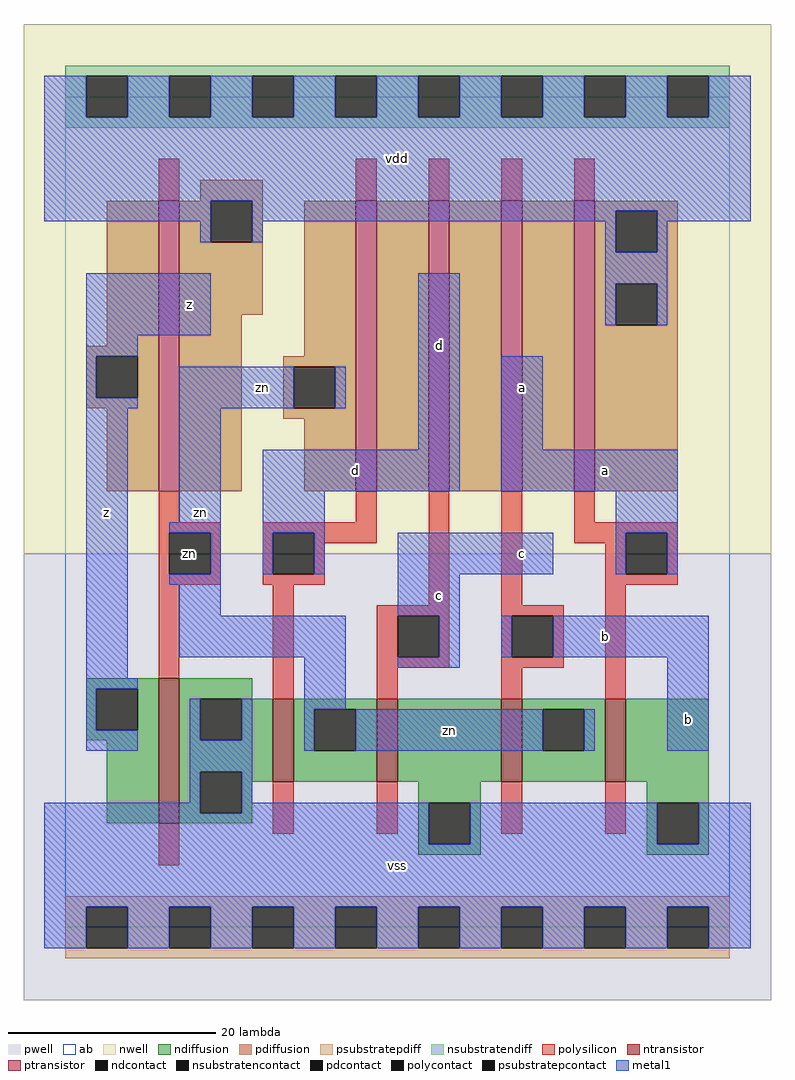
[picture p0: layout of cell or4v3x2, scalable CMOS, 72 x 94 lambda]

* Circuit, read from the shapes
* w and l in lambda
.subckt or4v3x2 a b c d vdd vss z zn
M1 vss zn z vss nfet w=14 l=2
M2 zn d vss vss nfet w=8 l=2
M3 vss c zn vss nfet w=8 l=2
M4 zn b vss vss nfet w=8 l=2
M5 vss a zn vss nfet w=8 l=2
M6 vdd zn z vdd pfet w=28 l=2
M7 n1 d zn vdd pfet w=28 l=2
M8 n2 c n1 vdd pfet w=28 l=2
M9 n3 b n2 vdd pfet w=28 l=2
M10 vdd a n3 vdd pfet w=28 l=2
.ends

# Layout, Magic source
magic
tech scmos
<< ab >>
rect 0 0 64 80
<< pwell >>
rect -4 -7 68 36
<< nwell >>
rect -4 36 68 87
<< polysilicon >>
rect 9 70 11 74
rect 28 70 30 74
rect 35 70 37 74
rect 42 70 44 74
rect 49 70 51 74
rect 9 39 11 42
rect 28 39 30 42
rect 9 38 15 39
rect 9 34 10 38
rect 14 34 15 38
rect 9 33 15 34
rect 19 38 30 39
rect 19 34 20 38
rect 24 37 30 38
rect 24 34 25 37
rect 19 33 25 34
rect 9 24 11 33
rect 20 22 22 33
rect 35 31 37 42
rect 30 30 37 31
rect 30 26 32 30
rect 36 26 37 30
rect 30 25 37 26
rect 42 31 44 42
rect 49 39 51 42
rect 49 38 59 39
rect 49 37 54 38
rect 52 34 54 37
rect 58 34 59 38
rect 52 33 59 34
rect 42 30 48 31
rect 42 26 43 30
rect 47 26 48 30
rect 42 25 48 26
rect 30 22 32 25
rect 42 22 44 25
rect 52 22 54 33
rect 9 6 11 10
rect 20 9 22 14
rect 30 9 32 14
rect 42 9 44 14
rect 52 9 54 14
<< ndiffusion >>
rect 2 23 9 24
rect 2 19 3 23
rect 7 19 9 23
rect 2 18 9 19
rect 4 10 9 18
rect 11 22 18 24
rect 11 18 13 22
rect 17 18 20 22
rect 11 15 20 18
rect 11 11 13 15
rect 17 14 20 15
rect 22 21 30 22
rect 22 17 24 21
rect 28 17 30 21
rect 22 14 30 17
rect 32 14 42 22
rect 44 21 52 22
rect 44 17 46 21
rect 50 17 52 21
rect 44 14 52 17
rect 54 14 62 22
rect 17 11 18 14
rect 11 10 18 11
rect 34 12 40 14
rect 34 8 35 12
rect 39 8 40 12
rect 56 12 62 14
rect 34 7 40 8
rect 56 8 57 12
rect 61 8 62 12
rect 56 7 62 8
<< pdiffusion >>
rect 13 70 19 72
rect 4 56 9 70
rect 2 55 9 56
rect 2 51 3 55
rect 7 51 9 55
rect 2 50 9 51
rect 4 42 9 50
rect 11 66 14 70
rect 18 66 19 70
rect 11 59 19 66
rect 11 42 17 59
rect 23 55 28 70
rect 21 54 28 55
rect 21 50 22 54
rect 26 50 28 54
rect 21 49 28 50
rect 23 42 28 49
rect 30 42 35 70
rect 37 42 42 70
rect 44 42 49 70
rect 51 69 59 70
rect 51 65 53 69
rect 57 65 59 69
rect 51 62 59 65
rect 51 58 53 62
rect 57 58 59 62
rect 51 42 59 58
<< metal1 >>
rect -2 78 2 82
rect 6 78 10 82
rect 14 78 18 82
rect 22 78 26 82
rect 30 78 34 82
rect 38 78 42 82
rect 46 78 50 82
rect 54 78 58 82
rect 62 78 66 82
rect -2 70 66 78
rect -2 68 14 70
rect 13 66 14 68
rect 18 69 66 70
rect 18 68 53 69
rect 18 66 19 68
rect 52 65 53 68
rect 57 68 66 69
rect 57 65 58 68
rect 2 57 14 63
rect 2 55 7 57
rect 2 51 3 55
rect 2 50 7 51
rect 11 50 22 54
rect 26 50 27 54
rect 2 24 6 50
rect 11 39 15 50
rect 34 46 38 63
rect 52 62 58 65
rect 52 58 53 62
rect 57 58 58 62
rect 10 38 15 39
rect 14 34 15 38
rect 19 42 38 46
rect 42 46 46 55
rect 42 42 59 46
rect 19 38 25 42
rect 53 38 59 42
rect 19 34 20 38
rect 24 34 25 38
rect 32 34 47 38
rect 53 34 54 38
rect 58 34 59 38
rect 10 33 15 34
rect 11 30 15 33
rect 32 30 38 34
rect 11 26 27 30
rect 2 23 7 24
rect 2 19 3 23
rect 2 17 7 19
rect 12 18 13 22
rect 17 18 18 22
rect 12 15 18 18
rect 23 21 27 26
rect 36 26 38 30
rect 42 26 43 30
rect 47 26 62 30
rect 32 25 38 26
rect 23 17 24 21
rect 28 17 46 21
rect 50 17 51 21
rect 58 17 62 26
rect 12 12 13 15
rect -2 11 13 12
rect 17 12 18 15
rect 17 11 35 12
rect -2 8 35 11
rect 39 8 57 12
rect 61 8 66 12
rect -2 2 66 8
rect -2 -2 2 2
rect 6 -2 10 2
rect 14 -2 18 2
rect 22 -2 26 2
rect 30 -2 34 2
rect 38 -2 42 2
rect 46 -2 50 2
rect 54 -2 58 2
rect 62 -2 66 2
<< ntransistor >>
rect 9 10 11 24
rect 20 14 22 22
rect 30 14 32 22
rect 42 14 44 22
rect 52 14 54 22
<< ptransistor >>
rect 9 42 11 70
rect 28 42 30 70
rect 35 42 37 70
rect 42 42 44 70
rect 49 42 51 70
<< polycontact >>
rect 10 34 14 38
rect 20 34 24 38
rect 32 26 36 30
rect 54 34 58 38
rect 43 26 47 30
<< ndcontact >>
rect 3 19 7 23
rect 13 18 17 22
rect 13 11 17 15
rect 24 17 28 21
rect 46 17 50 21
rect 35 8 39 12
rect 57 8 61 12
<< pdcontact >>
rect 3 51 7 55
rect 14 66 18 70
rect 22 50 26 54
rect 53 65 57 69
rect 53 58 57 62
<< psubstratepcontact >>
rect 2 -2 6 2
rect 10 -2 14 2
rect 18 -2 22 2
rect 26 -2 30 2
rect 34 -2 38 2
rect 42 -2 46 2
rect 50 -2 54 2
rect 58 -2 62 2
<< nsubstratencontact >>
rect 2 78 6 82
rect 10 78 14 82
rect 18 78 22 82
rect 26 78 30 82
rect 34 78 38 82
rect 42 78 46 82
rect 50 78 54 82
rect 58 78 62 82
<< psubstratepdiff >>
rect 0 2 64 3
rect 0 -2 2 2
rect 6 -2 10 2
rect 14 -2 18 2
rect 22 -2 26 2
rect 30 -2 34 2
rect 38 -2 42 2
rect 46 -2 50 2
rect 54 -2 58 2
rect 62 -2 64 2
rect 0 -3 64 -2
<< nsubstratendiff >>
rect 0 82 64 83
rect 0 78 2 82
rect 6 78 10 82
rect 14 78 18 82
rect 22 78 26 82
rect 30 78 34 82
rect 38 78 42 82
rect 46 78 50 82
rect 54 78 58 82
rect 62 78 64 82
rect 0 77 64 78
<< labels >>
rlabel polycontact 12 36 12 36 6 zn
rlabel metal1 4 40 4 40 6 z
rlabel metal1 13 40 13 40 6 zn
rlabel metal1 12 60 12 60 6 z
rlabel metal1 32 6 32 6 6 vss
rlabel metal1 36 32 36 32 6 c
rlabel metal1 28 44 28 44 6 d
rlabel metal1 19 52 19 52 6 zn
rlabel metal1 36 56 36 56 6 d
rlabel metal1 32 74 32 74 6 vdd
rlabel metal1 37 19 37 19 6 zn
rlabel metal1 44 36 44 36 6 c
rlabel metal1 44 52 44 52 6 a
rlabel metal1 52 28 52 28 6 b
rlabel metal1 60 20 60 20 6 b
rlabel metal1 52 44 52 44 6 a
<< end >>
